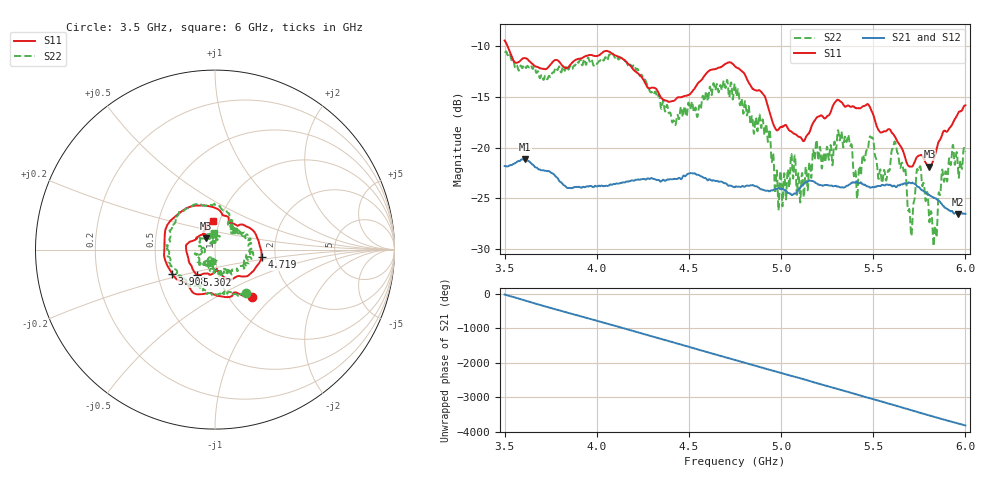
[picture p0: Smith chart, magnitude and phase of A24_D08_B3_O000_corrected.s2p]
! Created with skrf 1.9.0 (http://scikit-rf.org).
# Hz S RI R 50.0
!freq ReS11 ImS11 ReS21 ImS21 ReS12 ImS12 ReS22 ImS22
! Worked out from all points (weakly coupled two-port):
!   1601 points, 3.5 GHz to 6 GHz, reference 50 ohm
!   highest |S21| = -21.13 dB at 3.609 GHz (marker M1); lowest = -26.6 dB at 5.959 GHz (marker M2)
!   lowest |S11| = -21.9 dB at 5.805 GHz (marker M3), VSWR 1.18, Z = 44.9 + j5.71 ohm
!   |S11| at or under -10 dB: 3.516 GHz to end of sweep
!   |S22| runs from -29.7 to -10.5 dB; largest |S21 - S12| = 0.0011
!   S11 on the Smith chart (normalised r, x): 3.5 GHz: 1.27, -0.76; 3.908 GHz: 0.60, -0.17; 4.719 GHz: 1.69, -0.15; 5.302 GHz: 0.79, -0.23; 6 GHz: 0.93, +0.31
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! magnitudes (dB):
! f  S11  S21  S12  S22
! 3.5 GHz  -9.5  -21.8  -21.8  -10.6
! 3.609 GHz  -11.2  -21.1  -21.1  -11.9
! 3.908 GHz  -11.3  -23.9  -23.9  -11.4
! 3.917 GHz  -11.2  -24.0  -23.9  -11.7
! 4.334 GHz  -14.6  -23.2  -23.1  -14.9
! 4.719 GHz  -11.6  -23.7  -23.8  -15.1
! 4.75 GHz  -12.0  -23.9  -23.8  -13.8
! 4.928 GHz  -15.9  -24.2  -24.2  -19.4
! 4.978 GHz  -18.3  -24.1  -24.0  -22.5
! 5.167 GHz  -17.8  -23.3  -23.3  -22.1
! 5.302 GHz  -15.3  -23.8  -23.8  -19.6
! 5.406 GHz  -16.1  -23.4  -23.3  -22.7
! 5.489 GHz  -16.3  -23.9  -23.9  -19.0
! 5.584 GHz  -18.2  -23.7  -23.7  -22.3
! 5.623 GHz  -19.1  -23.9  -23.9  -19.8
! 5.702 GHz  -21.9  -23.5  -23.5  -27.5
! 5.748 GHz  -20.8  -23.9  -23.9  -22.1
! 5.805 GHz  -21.9  -24.7  -24.7  -27.4
! 5.834 GHz  -20.8  -25.0  -24.9  -27.7
! 5.88 GHz  -18.4  -25.7  -25.7  -22.9
! 5.959 GHz  -16.7  -26.6  -26.5  -22.0
! 6 GHz  -15.8  -26.5  -26.5  -20.4
